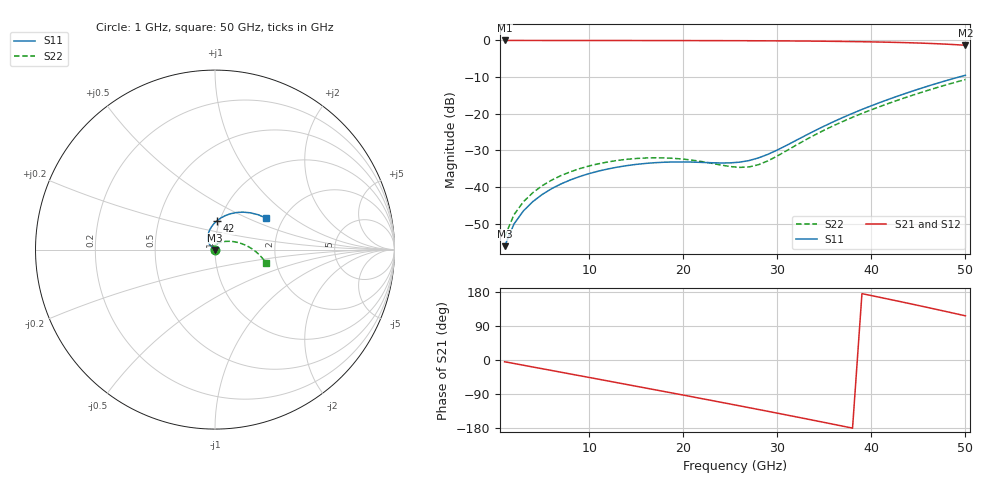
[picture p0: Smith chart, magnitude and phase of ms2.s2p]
! Impedora 0.10.0 via model, case ms2 (fullwave/cases.json), 2026-11-19
! Microstrip launch on a thin outer layer: 0.45 mm pad 0.1 mm above the plane, 0.6 mm antipad, 0.2 mm drill: with its pads and traces, ports at the far end of each trace, after the 3D port calibration.
! Ports: 1 = upper end, 2 = lower end, 50 ohm.
! Compared with the edge 3D mesh.
# Hz S RI R 50
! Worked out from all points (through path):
!   50 points, 1 GHz to 50 GHz, reference 50 ohm
!   highest |S21| = 0.00 dB at 1 GHz (marker M1); lowest = -1.3 dB at 50 GHz (marker M2)
!   group delay of S21, straight-line fit = 13.4 ps
!   lowest |S11| = -56.1 dB at 1 GHz (marker M3), VSWR 1.00, Z = 50 - j0.156 ohm
!   |S11| at or under -10 dB: start of sweep to 49.27 GHz
!   |S22| runs from -53.5 to -10.7 dB; largest |S21 - S12| = 1.4
!   S11 on the Smith chart (normalised r, x): 1 GHz: 1.00, -0.00; 42 GHz: 0.97, +0.32; 50 GHz: 1.64, +0.65
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1e9  -0.000177 -0.00156  0.9967 -0.0804  0.9991 -0.0417  -7.49e-05 -0.0021
2e9  -0.000714 -0.00307  0.987 -0.1602  0.9964 -0.0834  -0.000305 -0.0042
3e9  -0.00161 -0.00446  0.9708 -0.239  0.9919 -0.1249  -0.000704 -0.00628
4e9  -0.00287 -0.00566  0.9483 -0.3162  0.9857 -0.1661  -0.00129 -0.00831
5e9  -0.00444 -0.00659  0.9197 -0.3913  0.9778 -0.207  -0.00205 -0.0103
7e9  -0.00829 -0.00734  0.8448 -0.5333  0.9568 -0.2877  -0.00413 -0.0138
1e10  -0.0144 -0.0052  0.6923 -0.7196  0.9129 -0.405  -0.00833 -0.0176
1.4e10  -0.0195 0.00271  0.4275 -0.9015  0.8315 -0.5518  -0.0149 -0.0188
1.8e10  -0.0185 0.0117  0.1171 -0.9898  0.7255 -0.6839  -0.0203 -0.0147
2.2e10  -0.0142 0.0165  -0.2074 -0.9731  0.5962 -0.7973  -0.0218 -0.00479
2.6e10  -0.014 0.0169  -0.5113 -0.8503  0.4458 -0.8872  -0.0158 0.00986
2.7e10  -0.0155 0.0171  -0.5799 -0.8039  0.4052 -0.9054  -0.0127 0.014
2.9e10  -0.0204 0.0192  -0.7044 -0.6938  0.3208 -0.9361  -0.00419 0.0224
3.2e10  -0.0311 0.0303  -0.8519 -0.4913  0.1877 -0.9661  0.0148 0.0343
3.4e10  -0.0376 0.0454  -0.9188 -0.337  0.0958 -0.9746  0.0319 0.0406
3.6e10  -0.0401 0.0672  -0.9572 -0.1724  0.0025 -0.9732  0.0525 0.0449
3.8e10  -0.0351 0.0952  -0.9652 -0.00298  -0.0911 -0.9615  0.0768 0.0463
4e10  -0.0194 0.1273  -0.9417 0.1658  -0.1841 -0.9391  0.1046 0.0441
4.2e10  0.0101 0.1601  -0.8863 0.3279  -0.2752 -0.9052  0.1361 0.0372
4.6e10  0.1186 0.2065  -0.6839 0.6048  -0.4451 -0.8003  0.2086 0.00257
4.8e10  0.1973 0.205  -0.5432 0.7046  -0.5186 -0.7282  0.2472 -0.0293
5e10  0.2861 0.1749  -0.3849 0.7688  -0.5795 -0.6436  0.2839 -0.0735
